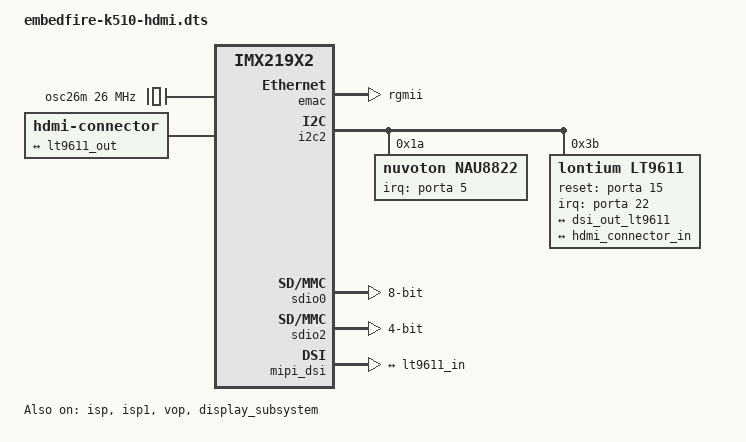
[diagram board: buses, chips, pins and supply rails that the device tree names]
/* Copyright (c) 2022, Canaan Bright Sight Co., Ltd
 *
 * This program is free software; you can redistribute it and/or modify
 * it under the terms of the GNU General Public License version 2 as
 * published by the Free Software Foundation.
*/
#include "k510_common/k510.dtsi"                    /* k510 soc top, include cpu/cache/memory/noc/axi/ahb/apb/sysctl etc. */
#include "k510_common/interrupt_provider.dtsi"      /* k510 soc interrupt controller */
#include "k510_common/interrupt_consumer.dtsi"      /* k510 soc and evb device interrupt consumer */
#include "k510_common/clock_provider.dtsi"          /* k510 soc clock tree */
#include "k510_common/clock_consumer.dtsi"          /* k510 soc and evb clock consumer */
#include "k510_common/reset_provider.dtsi"          /* k510 soc reset provider */
#include "k510_common/reset_consumer.dtsi"          /* k510 soc reset consumer */
#include "k510_common/power_provider.dtsi"          /* k510 soc power provider */
#include "k510_common/power_consumer.dtsi"          /* k510 soc power consumer */
#include "k510_common/dma_provider.dtsi"            /* k510 soc dma provider */
#include "k510_common/dma_consumer.dtsi"            /* k510 soc dma consumer */
#include "k510_common/gpio_provider.dtsi"           /* k510 soc gpio provider */
//#include "k510_common/gpio_consumer.dtsi"           /* k510 soc gpio consumer */
#include "k510_common/iomux_provider.dtsi"          /* k510 soc iomux provider */
#include "k510_common/iomux_consumer.dtsi"          /* k510 soc iomux consumer */
#include "k510_common/camera-imx219x2.dtsi"          /* camera imx219 */
#include <dt-bindings/display/drm_mipi_dsi.h>

/* evalution board device tree, include nandflash/emmc/ethphy/sensor/hdmi/pmic etc. */

/ {
    chosen {
        bootargs            = "root=/dev/nfs rw nfsroot=10.100.226.63:/home/yangguang/nfs_server/k510_nfsroot ip=10.100.226.221:10.100.226.63:10.100.226.254:255.255.255.0:k510:eth0:off console=ttyS0,115200n8 debug loglevel=7";
        stdout-path         = "uart0:115200n8";
    };
};


&ddr_memory {
    reg = <0x0 0x00000000 0x0 0xf000000>;  /*0~240M*/
};

/*DSP: 128M to 136M*/
    
&sharem {
    reg = <0x0 0xf000000 0x0 0x10000000>;  /*240M~496M*/
};

&serial0 {
    clock-frequency = <25000000>;
    reg-shift = <2>;
    reg-io-width = <4>;
    no-loopback-test = <1>;
};

&serial1 {
    clock-frequency = <25000000>;
    reg-shift = <2>;
    reg-io-width = <4>;
    no-loopback-test = <1>;
};
&spi0 {
    status = "disable";
    pinctrl-names = "default";
    pinctrl-0 = <&spi0_pins>;
    num-cs = <4>;
    reg-io-width = <4>;
    spi-nand@0 {
        #address-cells = <1>;
        #size-cells = <1>;
        compatible = "spi-nand";
        spi-max-frequency = <6000000>;
        spi-tx-bus-width = <4>;
	spi-rx-bus-width = <4>;
        reg = <0 0 0 0>;
        partition@0 {
                label = "uboot-1";
                reg = <0x00000000 0x00100000>;
        };

        partition@100000 {
                label = "uboot-2";
                reg = <0x00100000 0x00100000>;
        };

        partition@200000 {
                label = "uboot-3";
                reg = <0x00200000 0x00100000>;
        };

        partition@300000 {
                label = "env";
                reg = <0x00300000 0x00040000>;
        };

        partition@340000 {
                label = "dtb";
                reg = <0x00340000 0x00040000>;
        };

        partition@380000 {
                label = "kernel";
                reg = <0x00380000 0x0f00000>;
        };

        partition@1280000 {
                label = "rootfs";
                reg = <0x1280000 0x06d00000>;
        };
    };
};

&iomux {
//    pinctrl-0 = <&uart0_pins &uart1_pins &mmc0_pins &mmc2_pins &pwm0_pins &pwm1_pins &i2c3_pins &i2s_pins &i2c2_pins &i2c1_pins &i2c4_pins &dvp_pins>;

    uart0_pins: iomux_uart0_pins {
        pinctrl-k510,pins = <
            (112) (FUNC_UART0_SIN)
            (113) (FUNC_UART0_SOUT)
        >;
    };
    uart1_pins: iomux_uart1_pins {
        pinctrl-k510,pins = <
            (114) (FUNC_UART1_SIN)
            (115) (FUNC_UART1_SOUT)
        >;
    };

    emac_rgmii_pins: iomux_emac_rgmii_pins {
        pinctrl-k510,pins = <
            (35) (FUNC_EMAC_MDC)
            (36) (FUNC_EMAC_MDIO)
            (29) (FUNC_EMAC_TX_CLK_OUT)
            (38) (FUNC_EMAC_TX_CTL)
            (46) (FUNC_EMAC_TX_D0)
            (45) (FUNC_EMAC_TX_D1)
            (44) (FUNC_EMAC_TX_D2)
            (43) (FUNC_EMAC_TX_D3)
            (30) (FUNC_EMAC_RX_CLK_IN)
            (37) (FUNC_EMAC_RX_CTL)
            (42) (FUNC_EMAC_RX_D0)
            (41) (FUNC_EMAC_RX_D1)
            (40) (FUNC_EMAC_RX_D2)
            (39) (FUNC_EMAC_RX_D3)
        >;
    };

    i2s_pins: iomux_i2s_pins {
        pinctrl-k510,pins = <
            (100)  (FUNC_AUDIO_INOUT_I2S_SCLK_GATE)
            (101)  (FUNC_AUDIO_INOUT_I2S_WS)
            (99) (FUNC_AUDIO_OUT0)
            (98) (FUNC_AUDIO_IN0)
        >;
    };

    /*MIPI_CSI_I2C_SCL, MIPI_CSI_I2C_SDA*/
    i2c1_pins: iomux_i2c1_pins {
        pinctrl-k510,pins = <
            (120) (FUNC_I2C1_SCLK)
            (121) (FUNC_I2C1_SDA)
        >;
    };

    /*MIPI_DSI_I2C_SCL, MIPI_DSI_I2C_SDA*/
    i2c2_pins: iomux_i2c2_pins {
        pinctrl-k510,pins = <
            (103) (FUNC_I2C2_SCLK)
            (102) (FUNC_I2C2_SDA)
        >;
    };
    
    /*IIC_SDA, IIC_SCL*/
    i2c3_pins: iomux_i2c3_pins {
        pinctrl-k510,pins = <
            (116) (FUNC_I2C3_SDA)
            (117) (FUNC_I2C3_SCLK)
        >;
    };
    
    /*I2C_1V8_SCL1, I2C_1V8_SDA1 CSI*/
    i2c4_pins: iomux_i2c4_pins {
        pinctrl-k510,pins = <
            (48) (FUNC_I2C4_SDA)
            (47) (FUNC_I2C4_SCLK)
        >;
    };

    dvp_pins:iomux_dvp_pins{
        pinctrl-k510,pins = <
            (51) (FUNC_DVP_D4   )
            (52) (FUNC_DVP_D5   )
            (53) (FUNC_DVP_D6   )
            (54) (FUNC_DVP_D7   )
            (55) (FUNC_DVP_D8   )
            (56) (FUNC_DVP_D9   )
            (57) (FUNC_DVP_D10  )
            (58) (FUNC_DVP_D11  )
            (59) (FUNC_DVP_D12  )
            (60) (FUNC_DVP_D13  )
            (61) (FUNC_DVP_D14  )
            (62) (FUNC_DVP_D15  )
            (63) (FUNC_DVP_VSYNC)
            (64) (FUNC_DVP_HREF )
            (66) (FUNC_DVP_PCLK )
        >;
    };


    gpio_pins: iomux_gpio_pins {
        pinctrl-k510,pins = <
            (72) (FUNC_GPIO22) /*OEB*/
            (22) (FUNC_GPIO21) /*SEL*/
            (75) (FUNC_GPIO5) /*HP_INSERT_DET*/
            (77) (FUNC_GPIO7) /*SYS_LED*/
            (78) (FUNC_GPIO19) /*MIPI_DSI_D_RST*/
            (79) (FUNC_GPIO20) /*MIPI_DSI_LCD_EN*/
            (80) (FUNC_GPIO10) /*MIPI_DSI_T_RST*/
            (83) (FUNC_GPIO12) /*MIPI_DSI_T_INT*/
            (32) (FUNC_GPIO15) /*RSTN*/
            (21) (FUNC_GPIO16) /*USB_OTG_EN*/
        >;
    };

    pwm0_pins: iomux_pwm0_pins {
        pinctrl-k510,pins = <
            (126) (FUNC_PWM_PINS_1_IO_PINS_PWM_1_O_OVAL)  
        >;
    };

    pwm1_pins: iomux_pwm1_pins {
        pinctrl-k510,pins = <
            (127) (FUNC_PWM_PINS_1_IO_PINS_PWM_5_O_OVAL)    
        >;
    };

    spi0_pins: iomux_spi0_pins {
        pinctrl-k510,pins = <
          (86) (FUNC_SPI0_CLK)
          (87) (FUNC_SPI0_CS)
          (88) (FUNC_SPI0_D0)
          (89) (FUNC_SPI0_D1)
          (90) (FUNC_SPI0_D2)
          (91) (FUNC_SPI0_D3)
        >;
    };

    spi1_pins: iomux_spi1_pins {
        pinctrl-k510,pins = <
            (104) (FUNC_SPI1_SS0)    
            (105) (FUNC_SPI1_SCLK)   
            (106) (FUNC_SPI1_D0) 
            (107) (FUNC_SPI1_D1) 
        >;
    };

    spi2_pins: iomux_spi2_pins {
        pinctrl-k510,pins = <
            (122) (FUNC_SPI2_D0)
        >;
    };

    mmc1_pins: iomux_mmc1_pins {
        pinctrl-k510,pins = <
          (17) (FUNC_MMC1_CLK)
          (18) (FUNC_MMC1_CMD)
          (19) (FUNC_MMC1_DATA3)
          (20) (FUNC_MMC1_DATA2)
          (21) (FUNC_MMC1_DATA1)
          (22) (FUNC_MMC1_DATA0)
        >;
    };
};

&serial0 {
    pinctrl-names = "default";
    pinctrl-0 = <&uart0_pins>;

};

&serial1 {
    pinctrl-names = "default";
    pinctrl-0 = <&uart1_pins>;
};
&emac {
    phy-mode = "rgmii";
    pinctrl-names = "default";
    pinctrl-0 = <&emac_rgmii_pins>;
};


&i2c0 {
    status = "disable";
};

&i2c1 {
    status = "disable";
    pinctrl-names = "default";
    pinctrl-0 = <&i2c1_pins>;
};

&i2c2 {
    status = "okay";
    #address-cells  = <1>;
    #size-cells     = <0>;
    pinctrl-names = "default";
    pinctrl-0 = <&i2c2_pins>;

    nau8822: nau8822@1a {
        compatible = "nuvoton,nau8822";
        reg = <0x1a>;
        clock-names = "mclk";
        clocks = <&osc26m>;
        interrupt-parent = <&porta>;
        interrupts = <5 2>;
    };

    lt9611: hdmi-bridge@3b {
        compatible = "lontium,lt9611";
        reg = <0x3b>;
        reset-gpios = <&porta 15 GPIO_ACTIVE_HIGH>;
	    interrupt-parent = <&porta>;
	    interrupts = <22 2>;

	    ports {
            #address-cells  = <1>;
            #size-cells     = <0>;
            port@0 {
                reg = <0>;
                lt9611_in: enpoint {
                    remote-endpoint = <&dsi_out_lt9611>;
                };
            };
   
            port@1 {
                reg = <1>;
                lt9611_out: endpoint {
                    remote-endpoint = <&hdmi_connector_in>;
                };
            };
        };
    };
};


&sysctl_boot {
    osc26m: osc26m {
        #clock-cells                            = <0>;
        compatible                              = "fixed-clock";
        clock-frequency                         = <26000000>;
        clock-accuracy                          = <0>;
    };
};

&i2c3 {
    status = "disable";
    pinctrl-names = "default";
    pinctrl-0 = <&i2c3_pins>;
    #address-cells  = <1>;
    #size-cells     = <0>;

    gt911: touchscreen@5d {
	    compatible = "goodix,gt911";
        reg = <0x5d>;

        interrupt-parent = <&porta>;
        interrupts = <12 4>; /*IRQ_TYPE_LEVEL_HIGH*/
        irq-gpios = <&porta 12 GPIO_ACTIVE_HIGH>;
        reset-gpios = <&porta 10  GPIO_ACTIVE_HIGH>;

        touchscreen-size-x = <1080>;
        touchscreen-size-y = <1920>;

        goodix,cfg-group0 = [
            42 38 04 80 07 05 35 00 01 08
            28 08 50 32 03 05 00 00 00 00
            11 11 05 18 1A 1E 14 89 29 0C
            3D 3F 0C 08 00 00 00 2A 02 2C
            32 00 00 00 00 03 64 32 00 00
            00 2D 5A 94 D5 02 00 00 00 04
            8E 30 00 80 37 00 74 3F 00 69
            49 00 60 54 00 60 00 00 00 00
            00 00 00 00 00 00 00 00 00 00
            00 00 00 00 00 00 00 00 00 00
            00 00 00 00 00 00 00 00 00 00
            00 00 18 16 14 12 10 0E 0C 0A
            08 06 04 02 FF FF 00 00 00 00
            00 00 00 00 00 00 00 00 00 00
            00 00 00 02 04 06 08 0A 0F 10
            12 22 21 20 1F 1E 1D 1C 18 16
            FF FF FF FF FF FF FF FF 00 00
            00 00 00 00 00 00 00 00 00 00
            00 00 00 00 36 01
        ];

    };
};

&i2c4 {
    status = "disable";
    pinctrl-names = "default";
    pinctrl-0 = <&i2c4_pins>;
};

&i2c5 {
    status = "disable";
};

&i2c6 {
    status = "disable";
};

&sdio0 {
    status    = "okay";
    bus-width = <8>;

    pinctrl-names = "default";
    pinctrl-0 = <&mmc0_pins>;
};

&sdio2 {
    status    = "okay";                    
    bus-width = <4>;
    cap-sd-highspeed;
    cdns,phy-input-delay-legacy = <15>;
    cdns,phy-input-delay-sd-highspeed = <15>;

    pinctrl-names = "default";
    pinctrl-0 = <&mmc2_pins>;

};

&spi0 {
    status = "disable";
};

&spi1 {
    status = "disable";
    pinctrl-names = "default";
    pinctrl-0 = <&spi1_pins>;  

    spidev@0 {
        compatible = "spidev";
        reg = <0 0 0 0>;
        spi-max-frequency = <50000000>;
    };
};

&spi2 {
    status = "disable";
    pinctrl-names = "default";
    pinctrl-0 = <&spi2_pins>;

    #address-cells = <1>;
    #size-cells = <0>; 
    ranges = <0 0 0x960a0000>;

    ws2812b@0 {
        compatible = "ws2812b";
        reg = <0>;
        spi-max-frequency = <50000000>;
    };
};

&spis {
    status = "disable";
};

&porta {
    snps,nr-gpios = <32>;
};

&gpio {
    pinctrl-names = "default";
    pinctrl-0 = <&gpio_pins>;
};

&isp {
    status = "okay";
    compatible = "canaan,k510-isp";
    reg = <0x0 0x92600000 0x0 0x200000>;

    dsi_en-gpios = <&porta 20 GPIO_ACTIVE_HIGH>;
    dsi_rest-gpios = <&porta 19 GPIO_ACTIVE_LOW>;

    pinctrl-names = "default";
    pinctrl-0 = <&dvp_pins>;

};

&isp1 {
    status = "okay";
    compatible = "canaan,k510-isp1";
    reg = <0x0 0x92600000 0x0 0x200000>;

//    dsi_en-gpios = <&pca6416_0 14 GPIO_ACTIVE_HIGH>;
//    dsi_rest-gpios = <&pca6416_0 15 GPIO_ACTIVE_LOW>;

//    pinctrl-names = "default";
//    pinctrl-0 = <&dvp_pins>;

};

&mipi_dsi {
    ports {
        #address-cells = <1>;
        #size-cells = <0>;

        port@1 {
                reg = <1>;
                dsi_out_lt9611: endpoint {
                        remote-endpoint = <&lt9611_in>;
                };
        };
    };

};

&vop {
    status    = "okay";
};

&display_subsystem {
   status = "okay";
};

&gnne {
    compatible = "k510-gnne";
    reg = <0x0 0x94180000 0x0 0x80000>;
};

&h264 {
    compatible = "al,al5r";
    reg = <0x0 0x92740000 0x0 0x10000>;
};

&dsp {
    compatible = "k510-dsp";
    sysctl-phy-addr = <0x97000000>;
};

&usb {
    reg = <0x0 0x93060000 0x0 0x10000>;
    otg_power_supply-gpios = <&porta 16 GPIO_ACTIVE_HIGH>;
};

&pwm0 {
    pinctrl-names = "default";
    pinctrl-0 = <&pwm0_pins>;

};

&pwm1 {
    pinctrl-names = "default";
    pinctrl-0 = <&pwm1_pins>;

};

&i2s {
    pinctrl-names = "default";
    pinctrl-0 = <&i2s_pins>;

};

/{
    sound {
        compatible = "canaan,canaan-audio-nau8822";
        canaan,model = "CANAAN-I2S";
        canaan,i2s-controller = <&i2s>;
        canaan,audio-codec = <&nau8822>;
    };
};

&manage_subsys {
    wifi_pwrseq: wifi-pwrseq {
        compatible = "mmc-pwrseq-simple";
        reset-gpios = <&porta 14 GPIO_ACTIVE_LOW>;
    };
};

&mailbox {
    #mbox-cells = <1>;
};

/* 
 * mboxes = <&mailbox channel_number tx/rx>
 *          channel_number: 0-15
 *          rx: 0-7
 *          tx: 8-15
 */
&manage_subsys {
    mailbox_client: mailbox_client@0 {
        compatible = "mailbox-client";
        mboxes =    <&mailbox 0>, <&mailbox 1>, <&mailbox 2>, <&mailbox 3>,
                    <&mailbox 4>, <&mailbox 5>, <&mailbox 6>, <&mailbox 7>,
                    <&mailbox 8>, <&mailbox 9>, <&mailbox 10>, <&mailbox 11>,
                    <&mailbox 12>, <&mailbox 13>, <&mailbox 14>, <&mailbox 15>;
        mbox-names = "tx_chan_0", "tx_chan_1", "tx_chan_2", "tx_chan_3", 
                    "tx_chan_4", "tx_chan_5", "tx_chan_6", "tx_chan_7", 
                    "rx_chan_0", "rx_chan_1", "rx_chan_2", "rx_chan_3", 
                    "rx_chan_4", "rx_chan_5", "rx_chan_6", "rx_chan_7";                    
        reg =   <0x1 0x087ffe00 0x0 0x20>, /* cpu2dsp channel 0 */
                <0x1 0x087ffe20 0x0 0x20>, /* cpu2dsp channel 1 */
                <0x1 0x087ffe40 0x0 0x20>, /* cpu2dsp channel 2 */
                <0x1 0x087ffe60 0x0 0x20>, /* cpu2dsp channel 3 */
                <0x1 0x087ffe80 0x0 0x20>, /* cpu2dsp channel 4 */
                <0x1 0x087ffea0 0x0 0x20>, /* cpu2dsp channel 5 */
                <0x1 0x087ffec0 0x0 0x20>, /* cpu2dsp channel 6 */
                <0x1 0x087ffee0 0x0 0x20>, /* cpu2dsp channel 7 */

                <0x1 0x087fff00 0x0 0x20>, /* dsp2cpu channel 0 */
                <0x1 0x087fff20 0x0 0x20>, /* dsp2cpu channel 1 */
                <0x1 0x087fff40 0x0 0x20>, /* dsp2cpu channel 2 */
                <0x1 0x087fff60 0x0 0x20>, /* dsp2cpu channel 3 */
                <0x1 0x087fff80 0x0 0x20>, /* dsp2cpu channel 4 */
                <0x1 0x087fffa0 0x0 0x20>, /* dsp2cpu channel 5 */
                <0x1 0x087fffc0 0x0 0x20>, /* dsp2cpu channel 6 */
                <0x1 0x087fffe0 0x0 0x20>; /* dsp2cpu channel 7 */
    };
};

&noc_bus {
	hdmi: connector {
		compatible = "hdmi-connector";
		label = "hdmi";
		type = "a";

		port {
			hdmi_connector_in: endpoint {
				remote-endpoint = <&lt9611_out>;
			};
		};
	};
};
